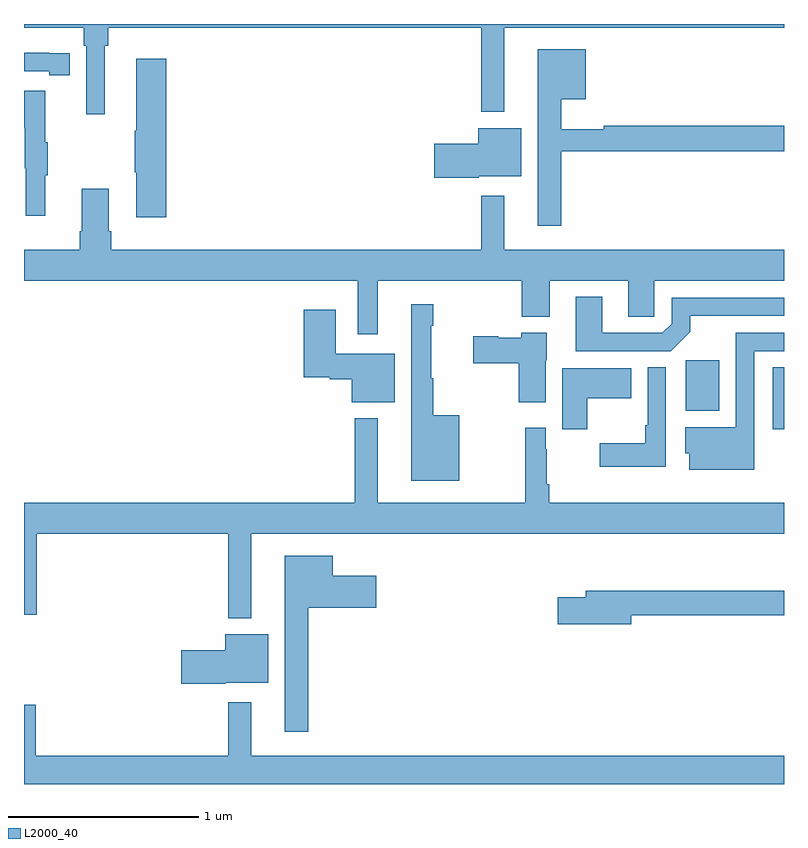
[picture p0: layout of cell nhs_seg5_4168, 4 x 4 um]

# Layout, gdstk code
import gdstk
lib = gdstk.Library(unit=1e-6, precision=1e-09)
def R(c, l, rs):  # rectangles x0, y0, x1, y1
    for r in rs: c.add(gdstk.rectangle(r[:2], r[2:], *l))
def P(c, l, *ps):  # polygons
    for p in ps: c.add(gdstk.Polygon(p, *l))
L2000_40 = (2000, 40)

nhs_seg5_4168 = lib.new_cell('nhs_seg5_4168')
R(nhs_seg5_4168, L2000_40, [(360.941,834.666,361,834.992), (360.482,834.764,360.658,835.028)])
P(nhs_seg5_4168, L2000_40, [(357,836.78),(357.314,836.78),(357.314,836.684),(357.327,836.684),(357.327,836.325),(357.424,836.325),(357.424,836.684),(357.443,836.684),(357.443,836.78),(359.406,836.78),(359.406,836.336),(359.527,836.336),(359.527,836.78),(361,836.78),(361,836.799),(357,836.799)],
  [(359.827,836.128),(361,836.128),(361,836.264),(360.052,836.264),(360.052,836.245),(359.827,836.245),(359.827,836.402),(359.956,836.402),(359.956,836.665),(359.705,836.665),(359.705,835.737),(359.827,835.737)],
  [(357.242,836.646),(357.134,836.646),(357.134,836.647),(357,836.647),(357,836.55),(357.134,836.55),(357.134,836.53),(357.242,836.53)],
  [(357.749,836.617),(357.59,836.617),(357.59,836.237),(357.583,836.237),(357.583,836.02),(357.59,836.02),(357.59,835.782),(357.749,835.782)],
  [(357.113,836.003),(357.124,836.003),(357.124,836.177),(357.113,836.177),(357.113,836.449),(357,836.449),(357,836.254),(357.003,836.254),(357.003,836.04),(357.01,836.04),(357.01,835.791),(357.113,835.791)],
  [(359.394,835.997),(359.617,835.997),(359.617,836.251),(359.39,836.251),(359.39,836.168),(359.16,836.168),(359.16,835.99),(359.394,835.99)],
  [(358.861,835.448),(359.62,835.448),(359.62,835.259),(359.767,835.259),(359.767,835.448),(360.179,835.448),(360.179,835.258),(360.318,835.258),(360.318,835.448),(361,835.448),(361,835.612),(359.527,835.612),(359.527,835.894),(359.406,835.894),(359.406,835.612),(357.458,835.612),(357.458,835.708),(357.445,835.708),(357.445,835.933),(357.305,835.933),(357.305,835.708),(357.293,835.708),(357.293,835.612),(357,835.612),(357,835.448),(358.757,835.448),(358.757,835.167),(358.861,835.167)],
  [(360.507,835.179),(360.507,835.263),(361,835.263),(361,835.359),(360.408,835.359),(360.408,835.221),(360.36,835.173),(360.043,835.173),(360.043,835.363),(359.903,835.363),(359.903,835.077),(360.405,835.077)],
  [(359.29,834.739),(359.153,834.739),(359.153,834.935),(359.143,834.935),(359.143,835.211),(359.153,835.211),(359.153,835.324),(359.039,835.324),(359.039,834.395),(359.29,834.395)],
  [(358.951,835.063),(358.642,835.063),(358.642,835.294),(358.472,835.294),(358.472,834.941),(358.608,834.941),(358.608,834.929),(358.724,834.929),(358.724,834.809),(358.951,834.809)],
  [(359.746,835.029),(359.752,835.029),(359.752,835.174),(359.616,835.174),(359.616,835.147),(359.496,835.147),(359.496,835.155),(359.364,835.155),(359.364,835.013),(359.605,835.013),(359.605,834.807),(359.746,834.807)],
  [(360.843,835.077),(361,835.077),(361,835.173),(360.747,835.173),(360.747,834.676),(360.479,834.676),(360.479,834.54),(360.5,834.54),(360.5,834.452),(360.843,834.452)],
  [(360.378,834.992),(360.282,834.992),(360.282,834.688),(360.27,834.688),(360.27,834.592),(360.03,834.592),(360.03,834.47),(360.378,834.47)],
  [(359.964,834.83),(360.197,834.83),(360.197,834.988),(359.834,834.988),(359.834,834.666),(359.964,834.666)],
  [(357,833.691),(357.068,833.691),(357.068,834.116),(358.074,834.116),(358.074,833.672),(358.195,833.672),(358.195,834.116),(361,834.116),(361,834.28),(359.765,834.28),(359.765,834.376),(359.75,834.376),(359.75,834.56),(359.745,834.56),(359.745,834.673),(359.637,834.673),(359.637,834.28),(358.861,834.28),(358.861,834.724),(358.74,834.724),(358.74,834.28),(357,834.28)],
  [(358.495,833.726),(358.855,833.726),(358.855,833.896),(358.624,833.896),(358.624,834.001),(358.373,834.001),(358.373,833.073),(358.495,833.073)],
  [(360.196,833.686),(361,833.686),(361,833.815),(359.957,833.815),(359.957,833.781),(359.808,833.781),(359.808,833.639),(360.196,833.639)],
  [(358.062,833.333),(358.285,833.333),(358.285,833.587),(358.058,833.587),(358.058,833.504),(357.828,833.504),(357.828,833.326),(358.062,833.326)],
  [(358.195,833.23),(358.074,833.23),(358.074,832.948),(357.062,832.948),(357.062,833.215),(357,833.215),(357,832.799),(361,832.799),(361,832.948),(358.195,832.948)])

lib.write_gds('nhs_seg5_4168.gds')
